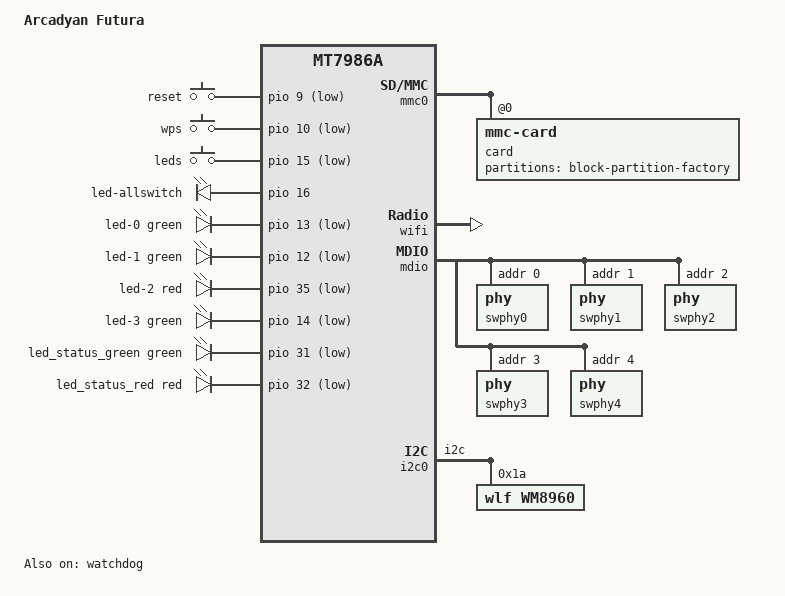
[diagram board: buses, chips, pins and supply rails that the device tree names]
// SPDX-License-Identifier: (GPL-2.0 OR MIT)
/*
 * Arcadyan Futura (MT7986A, eMMC), a MediaTek MT7986A eMMC RFB derivative.
 *
 * Based on mt7986a-rfb.dtsi using mainline clock/pinctrl bindings; the
 * vendor (5.4) DTB uses vendor SDK clock IDs and cannot be reused as-is.
 * See &mmc0 for the eMMC clock quirk of this board.
 */

#include <dt-bindings/input/input.h>
#include <dt-bindings/leds/common.h>

#include "mt7986a-rfb.dtsi"

/ {
	model = "Arcadyan Futura";
	compatible = "arcadyan,futura", "mediatek,mt7986a";

	aliases {
		led-boot = &led_status_green;
		led-failsafe = &led_status_red;
		led-running = &led_status_green;
		led-upgrade = &led_status_red;
	};

	chosen {
		/*
		 * Stock U-Boot always passes the saved bootargs (root=p8 and
		 * init=/sbin/preinit), whichever bank boot_select picks.
		 * OpenWrt lives in bank A: kernel in p5 ("kernel"), rootfs in
		 * p6 ("rootfs"), booted with boot_select=0. Stock firmware in
		 * bank B (p7/p8) is left untouched.
		 */
		bootargs-override = "console=ttyS0,115200n1 loglevel=8 earlycon=uart8250,mmio32,0x11002000 root=/dev/mmcblk0p6 rootwait rootfstype=squashfs,f2fs";
	};

	/*
	 * Buttons from the stock /etc/gpio/button_map.txt. Pins 9 and 10 are
	 * also the PCIe clk/wake pins; PCIe has no device and releases them.
	 */
	keys {
		compatible = "gpio-keys";

		button-reset {
			label = "reset";
			linux,code = <KEY_RESTART>;
			gpios = <&pio 9 GPIO_ACTIVE_LOW>;
		};

		button-wps {
			label = "wps";
			linux,code = <KEY_WPS_BUTTON>;
			gpios = <&pio 10 GPIO_ACTIVE_LOW>;
		};

		button-leds {
			label = "leds";
			linux,code = <KEY_LIGHTS_TOGGLE>;
			gpios = <&pio 15 GPIO_ACTIVE_LOW>;
		};
	};

	/*
	 * Front LEDs, pins from the stock /etc/gpio/led_map_R0B.txt (the
	 * Wi-Fi, LTE, Internet and Voice LEDs). They are wired active-low and
	 * powered through the "led_allswitch" pin 16, which the lamp button
	 * toggles (/etc/rc.button/lights_toggle), as on stock. Unlike the stock
	 * map says, pin 16 enables the LEDs when high. The Voice LED is unused
	 * on OpenWrt and serves as the status LED.
	 */
	leds {
		compatible = "gpio-leds";

		led-allswitch {
			label = "led-allswitch";
			gpios = <&pio 16 GPIO_ACTIVE_HIGH>;
			default-state = "on";
		};

		led-0 {
			color = <LED_COLOR_ID_GREEN>;
			function = LED_FUNCTION_WLAN;
			gpios = <&pio 13 GPIO_ACTIVE_LOW>;
			linux,default-trigger = "phy0radio";
		};

		led-1 {
			color = <LED_COLOR_ID_GREEN>;
			function = LED_FUNCTION_MOBILE;
			gpios = <&pio 12 GPIO_ACTIVE_LOW>;
		};

		led-2 {
			color = <LED_COLOR_ID_RED>;
			function = LED_FUNCTION_MOBILE;
			gpios = <&pio 35 GPIO_ACTIVE_LOW>;
		};

		led-3 {
			color = <LED_COLOR_ID_GREEN>;
			function = LED_FUNCTION_WAN;
			gpios = <&pio 14 GPIO_ACTIVE_LOW>;
		};

		led_status_green: led-4 {
			color = <LED_COLOR_ID_GREEN>;
			function = LED_FUNCTION_STATUS;
			gpios = <&pio 31 GPIO_ACTIVE_LOW>;
		};

		led_status_red: led-5 {
			color = <LED_COLOR_ID_RED>;
			function = LED_FUNCTION_STATUS;
			gpios = <&pio 32 GPIO_ACTIVE_LOW>;
		};
	};

	/* Stand-in for the MSDC "source_cg", see &mmc0 */
	msdc_src_cg_dummy: clock-msdc-src-cg-dummy {
		compatible = "fixed-clock";
		#clock-cells = <0>;
		clock-frequency = <416000000>;
	};
};

&mmc0 {
	#address-cells = <1>;
	#size-cells = <0>;

	/*
	 * On this board MSDC_CFG drops writes while the infra_msdc gate is
	 * closed, and mtk-sd gates "source_cg" around every clock divider
	 * write, so the card stays on the 52 MHz clock left by U-Boot and
	 * CMD1 fails. The stock firmware keeps infra_msdc always on (via its
	 * clk-bring-up node). Do the same: hold infra_msdc through "axi_cg",
	 * which is only gated on runtime suspend, and give "source_cg" a
	 * dummy clock so the divider writes land.
	 */
	clocks = <&topckgen CLK_TOP_EMMC_416M_SEL>,
		 <&infracfg CLK_INFRA_MSDC_HCK_CK>,
		 <&msdc_src_cg_dummy>,
		 <&infracfg CLK_INFRA_MSDC_133M_CK>,
		 <&infracfg CLK_INFRA_MSDC_66M_CK>,
		 <&infracfg CLK_INFRA_MSDC_CK>;
	clock-names = "source", "hclk", "source_cg", "bus_clk",
		      "sys_cg", "axi_cg";

	card@0 {
		compatible = "mmc-card";
		reg = <0>;

		block {
			compatible = "block-device";

			partitions {
				block-partition-factory {
					/* mmcblk0p3 holds the MT7986 Wi-Fi EEPROM */
					partno = <3>;

					nvmem-layout {
						compatible = "fixed-layout";
						#address-cells = <1>;
						#size-cells = <1>;

						eeprom_factory_0: eeprom@0 {
							reg = <0x0 0x1000>;
						};
					};
				};
			};
		};
	};
};

&wifi {
	nvmem-cells = <&eeprom_factory_0>;
	nvmem-cell-names = "eeprom";
};

/*
 * MT7531 ports 0-3 are the yellow LAN ports, port 4 is the blue WAN port
 * (the stock kernel mirrors port 4 onto "eth1" with a vendor hack). There
 * are no GPY211 PHYs on this board, so port 5 and gmac1 are unused.
 */
/delete-node/ &phy5;
/delete-node/ &phy6;

&gmac1 {
	/delete-property/ phy-handle;
	status = "disabled";
};

&switch {
	ports {
		/delete-node/ port@5;

		port@0 {
			label = "lan0";
			phy-handle = <&swphy0>;
		};

		port@1 {
			label = "lan1";
			phy-handle = <&swphy1>;
		};

		port@2 {
			label = "lan2";
			phy-handle = <&swphy2>;
		};

		port@3 {
			label = "lan3";
			phy-handle = <&swphy3>;
		};

		port@4 {
			phy-handle = <&swphy4>;
		};
	};

	mdio {
		#address-cells = <1>;
		#size-cells = <0>;

		/*
		 * Port LED setup from the stock /sbin/arc_switch script; the
		 * MT7531 LED controller is shared and programmed through PHY 0.
		 */
		swphy0: phy@0 {
			reg = <0>;

			mediatek,led-config = <
				0x21 0x8009 /* BASIC_CTRL */
				0x24 0xc007 /* LED0_ON_CTRL */
				0x25 0x003f /* LED0_BLINK_CTRL */
				0x26 0xc007 /* LED1_ON_CTRL */
				0x27 0x003f /* LED1_BLINK_CTRL */
			>;
		};

		swphy1: phy@1 {
			reg = <1>;
		};

		swphy2: phy@2 {
			reg = <2>;
		};

		swphy3: phy@3 {
			reg = <3>;
		};

		swphy4: phy@4 {
			reg = <4>;
		};
	};
};

&i2c0 {
	pinctrl-names = "default";
	pinctrl-0 = <&i2c_pins>;
	status = "okay";

	wm8960: codec@1a {
		compatible = "wlf,wm8960";
		reg = <0x1a>;
	};
};

&pio {
	i2c_pins: i2c-pins {
		mux {
			function = "i2c";
			groups = "i2c";
		};
	};

	spic_pins_g1: spi1-pins-23-to-26 {
		mux {
			function = "spi";
			groups = "spi1_1";
		};
	};
};

/* Not enabled in the stock DTS */
&uart1 {
	status = "disabled";
};

/* SLIC (Si32xx) on spi1_1 pins; there is no mainline driver for it */
&spi1 {
	pinctrl-0 = <&spic_pins_g1>;
	status = "disabled";
};

&watchdog {
	status = "okay";
};
